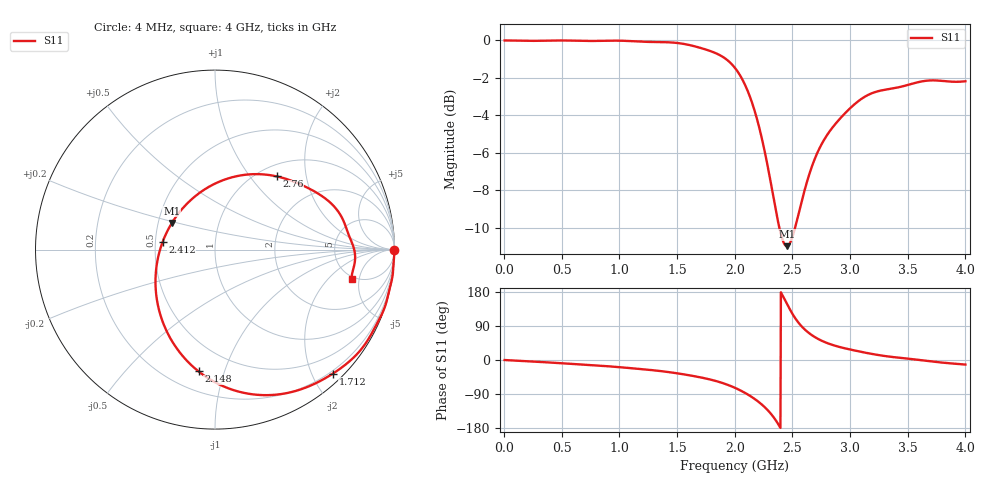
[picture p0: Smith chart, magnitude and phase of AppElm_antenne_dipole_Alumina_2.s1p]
! TOUCHSTONE file generated by CST MICROWAVE STUDIO
! Date and time: Sat May 14 11:21:35 2022
! Project name: AppElm_antenne_dipole_Alumina.cst
! Parameters = {L=33; e=0.035; f=2.45e+09; h=1.6; i=0.8; l1=2; lambda=122.449; ls=30; wl=1.7; ws=64}
! Header version: 2018
! Port assignment regex: !\s*Touchstone port\s*([0-9]+)\s*=\s*(CST MWS port|CST DS port)\s*([0-9]+|Zmin|Zmax)\s*\(\"(.*)\"\)(\s*mode\s*([0-9]+))?.*
! Touchstone port assignment:
! Touchstone port 1 = CST MWS port 1 ("")
# GHz S MA R 50
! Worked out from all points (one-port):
!   1000 points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, 4 MHz to 4 GHz, reference 50 ohm
!   lowest |S11| = -11.0 dB at 2.452 GHz (marker M1), VSWR 1.79, Z = 29.5 + j9.46 ohm
!   |S11| at or under -10 dB: 2.386 GHz to 2.523 GHz (136.5 MHz wide, 5.56 % of centre)
!   S11 on the Smith chart (normalised r, x): 4 MHz: open; 1.712 GHz: 0.15, -2.32; 2.148 GHz: 0.32, -0.82; 2.412 GHz: 0.55, +0.05; 2.76 GHz: 1.20, +1.37; 4 GHz: 4.72, -3.89
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0.004  1 -0.1
0.504  1 -8.6
1.004  0.9986 -19.0
1.324  0.9903 -28.1
1.504  0.9844 -35.3
1.712  0.9534 -46.4
1.796  0.935 -52.2
1.868  0.9145 -58.2
1.936  0.886 -65.2
2.004  0.8429 -73.7
2.08  0.7715 -85.3
2.148  0.6846 -97.7
2.224  0.5658 -114.8
2.288  0.4573 -133.1
2.348  0.363 -155.7
2.412  0.2951 171.9
2.452  0.2823 148.5
2.504  0.3017 119.8
2.56  0.351 95.7
2.62  0.4131 77.0
2.684  0.4743 62.4
2.76  0.5333 49.9
2.864  0.5942 38.2
3.004  0.6609 27.4
3.208  0.7266 15.0
3.504  0.7612 3.5
3.688  0.7819 -3.1
4  0.7781 -12.1
